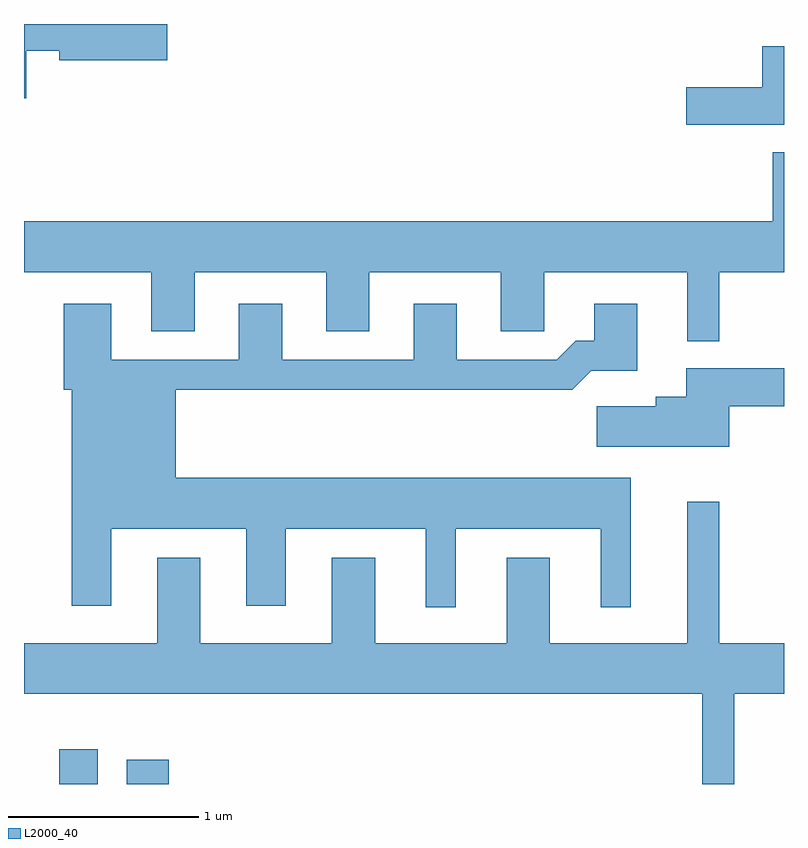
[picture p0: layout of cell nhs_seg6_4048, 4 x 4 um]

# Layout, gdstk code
import gdstk
lib = gdstk.Library(unit=1e-6, precision=1e-09)
def R(c, l, rs):  # rectangles x0, y0, x1, y1
    for r in rs: c.add(gdstk.rectangle(r[:2], r[2:], *l))
def P(c, l, *ps):  # polygons
    for p in ps: c.add(gdstk.Polygon(p, *l))
L2000_40 = (2000, 40)

nhs_seg6_4048 = lib.new_cell('nhs_seg6_4048')
R(nhs_seg6_4048, L2000_40, [(307.796,1616.162,307.999,1616.344), (308.151,1616.162,308.374,1616.289)])
P(nhs_seg6_4048, L2000_40, [(307.624,1620.021),(307.796,1620.021),(307.796,1619.971),(308.364,1619.971),(308.364,1620.162),(307.611,1620.162),(307.611,1619.771),(307.624,1619.771)],
  [(311.611,1620.044),(311.496,1620.044),(311.496,1619.829),(311.096,1619.829),(311.096,1619.631),(311.611,1619.631)],
  [(311.269,1618.856),(311.611,1618.856),(311.611,1619.488),(311.551,1619.488),(311.551,1619.124),(307.611,1619.124),(307.611,1618.856),(308.281,1618.856),(308.281,1618.546),(308.509,1618.546),(308.509,1618.856),(309.201,1618.856),(309.201,1618.546),(309.429,1618.546),(309.429,1618.856),(310.121,1618.856),(310.121,1618.546),(310.349,1618.546),(310.349,1618.856),(311.101,1618.856),(311.101,1618.493),(311.269,1618.493)],
  [(309.884,1617.506),(310.646,1617.506),(310.646,1617.093),(310.804,1617.093),(310.804,1617.774),(308.409,1617.774),(308.409,1618.236),(310.497,1618.236),(310.597,1618.336),(310.839,1618.336),(310.839,1618.689),(310.611,1618.689),(310.611,1618.494),(310.514,1618.494),(310.414,1618.394),(309.889,1618.394),(309.889,1618.689),(309.661,1618.689),(309.661,1618.394),(308.969,1618.394),(308.969,1618.689),(308.741,1618.689),(308.741,1618.394),(308.069,1618.394),(308.069,1618.689),(307.821,1618.689),(307.821,1618.236),(307.861,1618.236),(307.861,1617.101),(308.069,1617.101),(308.069,1617.506),(308.781,1617.506),(308.781,1617.101),(308.989,1617.101),(308.989,1617.506),(309.726,1617.506),(309.726,1617.093),(309.884,1617.093)],
  [(311.324,1618.151),(311.611,1618.151),(311.611,1618.349),(311.096,1618.349),(311.096,1618.199),(310.936,1618.199),(310.936,1618.149),(310.626,1618.149),(310.626,1617.936),(311.324,1617.936)],
  [(311.349,1616.636),(311.611,1616.636),(311.611,1616.904),(311.269,1616.904),(311.269,1617.648),(311.101,1617.648),(311.101,1616.904),(310.379,1616.904),(310.379,1617.354),(310.151,1617.354),(310.151,1616.904),(309.459,1616.904),(309.459,1617.354),(309.231,1617.354),(309.231,1616.904),(308.539,1616.904),(308.539,1617.354),(308.311,1617.354),(308.311,1616.904),(307.611,1616.904),(307.611,1616.636),(311.181,1616.636),(311.181,1616.162),(311.349,1616.162)])

lib.write_gds('nhs_seg6_4048.gds')
